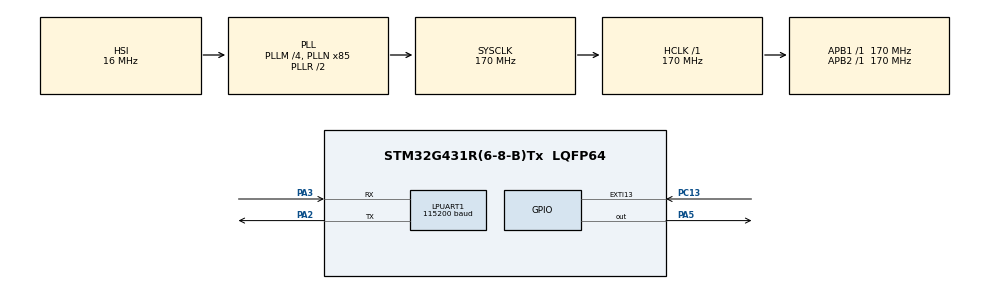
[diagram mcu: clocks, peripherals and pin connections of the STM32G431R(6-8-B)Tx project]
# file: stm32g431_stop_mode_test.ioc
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LPUART1.BaudRate=115200
LPUART1.FIFOMode=UART_FIFOMODE_ENABLE
LPUART1.RXFIFOThreshold=UART_RXFIFO_THRESHOLD_1_4
LPUART1.TXFIFOThreshold=UART_TXFIFO_THRESHOLD_1_4
Mcu.Family=STM32G4
Mcu.Name=STM32G431R(6-8-B)Tx
Mcu.Package=LQFP64
NVIC.EXTI15_10_IRQn=true\:0\:0\:false\:false\:true\:true\:true\:true
NVIC.LPUART1_IRQn=true\:0\:0\:false\:false\:true\:true\:true\:true
NVIC.PriorityGroup=NVIC_PRIORITYGROUP_4
NVIC.RTC_Alarm_IRQn=true\:0\:0\:false\:false\:true\:true\:true\:true
PA13.Mode=Serial_Wire
PA13.Signal=SYS_JTMS-SWDIO
PA14.Mode=Serial_Wire
PA14.Signal=SYS_JTCK-SWCLK
PA2.Mode=Asynchronous
PA2.Signal=LPUART1_TX
PA3.Mode=Asynchronous
PA3.Signal=LPUART1_RX
PA5.Signal=GPIO_Output
PC13.Signal=GPXTI13
ProjectManager.HeapSize=0x200
ProjectManager.StackSize=0x400
ProjectManager.TargetToolchain=STM32CubeIDE
RCC.ADC12Freq_Value=170000000
RCC.AHBFreq_Value=170000000
RCC.APB1Freq_Value=170000000
RCC.APB1TimFreq_Value=170000000
RCC.APB2Freq_Value=170000000
RCC.APB2TimFreq_Value=170000000
RCC.CortexFreq_Value=170000000
RCC.EXTERNAL_CLOCK_VALUE=12288000
RCC.HCLKFreq_Value=170000000
RCC.HSE_VALUE=8000000
RCC.HSI48_VALUE=48000000
RCC.HSI_VALUE=16000000
RCC.LPUART1CLockSelection=RCC_LPUART1CLKSOURCE_HSI
RCC.LSE_VALUE=32768
RCC.PLLM=RCC_PLLM_DIV4
RCC.PLLN=85
RCC.SYSCLKFreq_VALUE=170000000
RCC.SYSCLKSource=RCC_SYSCLKSOURCE_PLLCLK
RCC.USBFreq_Value=170000000
RCC.VCOOutputFreq_Value=340000000
RTC.Alarm-Alarm\ A=RTC_ALARM_A
RTC.AlarmDateWeekDay-Alarm\ A=0x17
RTC.AlarmDateWeekDaySel-Alarm\ A=RTC_ALARMDATEWEEKDAYSEL_DATE
RTC.Date=17
RTC.Hours=18
RTC.Hours_A-Alarm\ A=18
RTC.Minutes=15
RTC.Minutes_A-Alarm\ A=15
RTC.Month=RTC_MONTH_SEPTEMBER
RTC.Seconds_A-Alarm\ A=9
RTC.WeekDay=RTC_WEEKDAY_TUESDAY
RTC.Year=24
VP_RTC_VS_RTC_Activate.Mode=RTC_Enabled
VP_RTC_VS_RTC_Alarm_A_Intern.Mode=Alarm A
VP_RTC_VS_RTC_Calendar.Mode=RTC_Calendar
VP_SYS_VS_DBSignals.Mode=DisableDeadBatterySignals
board=custom

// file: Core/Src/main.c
/* USER CODE BEGIN Header */
/**
  ******************************************************************************
  * @file           : main.c
  * @brief          : Main program body
  ******************************************************************************
  * @attention
  *
  * Copyright (c) 2024 STMicroelectronics.
  * All rights reserved.
  *
  * This software is licensed under terms that can be found in the LICENSE file
  * in the root directory of this software component.
  * If no LICENSE file comes with this software, it is provided AS-IS.
  *
  ******************************************************************************
  */
/* USER CODE END Header */
#include "main.h"

/* USER CODE BEGIN Includes */
#include <stdio.h>
/* USER CODE END Includes */

UART_HandleTypeDef hlpuart1;

RTC_HandleTypeDef hrtc;

void SystemClock_Config(void);
static void MX_GPIO_Init(void);
static void MX_LPUART1_UART_Init(void);
static void MX_RTC_Init(void);
/* USER CODE BEGIN PFP */
uint8_t rx_data[2];
UART_WakeUpTypeDef WakeUpSelection;
/* USER CODE END PFP */

/* USER CODE BEGIN 0 */
int _write(int file, char *ptr, int len)
{
  HAL_UART_Transmit(&hlpuart1, (uint8_t *)ptr, len, HAL_MAX_DELAY);
  return len;
}

void HAL_UART_RxCpltCallback(UART_HandleTypeDef *huart)
{

}

void HAL_GPIO_EXTI_Callback(uint16_t GPIO_Pin)
{

}

void HAL_RTC_AlarmAEventCallback(RTC_HandleTypeDef *hrtc)
{

}
/* USER CODE END 0 */

int main(void)
{

  /* MCU Configuration--------------------------------------------------------*/

  /* Reset of all peripherals, Initializes the Flash interface and the Systick. */
  HAL_Init();

  /* Configure the system clock */
  SystemClock_Config();

  /* Initialize all configured peripherals */
  MX_GPIO_Init();
  MX_LPUART1_UART_Init();
  MX_RTC_Init();
  /* USER CODE BEGIN 2 */
  printf("Hello world!!\r\n");
  /* USER CODE END 2 */

  /* Infinite loop */
  /* USER CODE BEGIN WHILE */
  int i=0;
  while (1)
  {
    if(i++ > 5)
    {
      printf("Stopping ... \r\n");
      HAL_Delay(10);

      //HAL_GPIO_DeInit(GPIOA, GPIO_PIN_13|GPIO_PIN_14);
      HAL_SuspendTick();
      HAL_UARTEx_EnableStopMode(&hlpuart1);

      HAL_UART_Receive_IT(&hlpuart1, (uint8_t*)rx_data, 2);

      //Using HSI for uart to wake up from the stop mode
      HAL_PWR_EnterSTOPMode(PWR_LOWPOWERREGULATOR_ON, PWR_STOPENTRY_WFI);

      SystemClock_Config();

      HAL_UARTEx_DisableStopMode(&hlpuart1);

      HAL_ResumeTick();
      i = 0;
    }
    else
    {
      RTC_TimeTypeDef sTime = {0};
      RTC_DateTypeDef sDate = {0};

      HAL_RTC_GetTime(&hrtc, &sTime, RTC_FORMAT_BIN);
      HAL_RTC_GetDate(&hrtc, &sDate, RTC_FORMAT_BIN);

      printf("Running ... %d \r\n", sTime.Seconds);
      HAL_GPIO_TogglePin(GPIOA, GPIO_PIN_5);
      HAL_Delay(1000);
    }
    /* USER CODE END WHILE */

  }
}

void SystemClock_Config(void)
{
  RCC_OscInitTypeDef RCC_OscInitStruct = {0};
  RCC_ClkInitTypeDef RCC_ClkInitStruct = {0};

  /** Configure the main internal regulator output voltage
  */
  HAL_PWREx_ControlVoltageScaling(PWR_REGULATOR_VOLTAGE_SCALE1_BOOST);

  /** Initializes the RCC Oscillators according to the specified parameters
  * in the RCC_OscInitTypeDef structure.
  */
  RCC_OscInitStruct.OscillatorType = RCC_OSCILLATORTYPE_HSI|RCC_OSCILLATORTYPE_LSI;
  RCC_OscInitStruct.HSIState = RCC_HSI_ON;
  RCC_OscInitStruct.HSICalibrationValue = RCC_HSICALIBRATION_DEFAULT;
  RCC_OscInitStruct.LSIState = RCC_LSI_ON;
  RCC_OscInitStruct.PLL.PLLState = RCC_PLL_ON;
  RCC_OscInitStruct.PLL.PLLSource = RCC_PLLSOURCE_HSI;
  RCC_OscInitStruct.PLL.PLLM = RCC_PLLM_DIV4;
  RCC_OscInitStruct.PLL.PLLN = 85;
  RCC_OscInitStruct.PLL.PLLP = RCC_PLLP_DIV2;
  RCC_OscInitStruct.PLL.PLLQ = RCC_PLLQ_DIV2;
  RCC_OscInitStruct.PLL.PLLR = RCC_PLLR_DIV2;
  if (HAL_RCC_OscConfig(&RCC_OscInitStruct) != HAL_OK)
  {
    Error_Handler();
  }

  /** Initializes the CPU, AHB and APB buses clocks
  */
  RCC_ClkInitStruct.ClockType = RCC_CLOCKTYPE_HCLK|RCC_CLOCKTYPE_SYSCLK
                              |RCC_CLOCKTYPE_PCLK1|RCC_CLOCKTYPE_PCLK2;
  RCC_ClkInitStruct.SYSCLKSource = RCC_SYSCLKSOURCE_PLLCLK;
  RCC_ClkInitStruct.AHBCLKDivider = RCC_SYSCLK_DIV1;
  RCC_ClkInitStruct.APB1CLKDivider = RCC_HCLK_DIV1;
  RCC_ClkInitStruct.APB2CLKDivider = RCC_HCLK_DIV1;

  if (HAL_RCC_ClockConfig(&RCC_ClkInitStruct, FLASH_LATENCY_4) != HAL_OK)
  {
    Error_Handler();
  }
}

static void MX_LPUART1_UART_Init(void)
{

  hlpuart1.Instance = LPUART1;
  hlpuart1.Init.BaudRate = 115200;
  hlpuart1.Init.WordLength = UART_WORDLENGTH_8B;
  hlpuart1.Init.StopBits = UART_STOPBITS_1;
  hlpuart1.Init.Parity = UART_PARITY_NONE;
  hlpuart1.Init.Mode = UART_MODE_TX_RX;
  hlpuart1.Init.HwFlowCtl = UART_HWCONTROL_NONE;
  hlpuart1.Init.OneBitSampling = UART_ONE_BIT_SAMPLE_DISABLE;
  hlpuart1.Init.ClockPrescaler = UART_PRESCALER_DIV1;
  hlpuart1.AdvancedInit.AdvFeatureInit = UART_ADVFEATURE_NO_INIT;
  if (HAL_UART_Init(&hlpuart1) != HAL_OK)
  {
    Error_Handler();
  }
  if (HAL_UARTEx_SetTxFifoThreshold(&hlpuart1, UART_TXFIFO_THRESHOLD_1_4) != HAL_OK)
  {
    Error_Handler();
  }
  if (HAL_UARTEx_SetRxFifoThreshold(&hlpuart1, UART_RXFIFO_THRESHOLD_1_4) != HAL_OK)
  {
    Error_Handler();
  }
  if (HAL_UARTEx_EnableFifoMode(&hlpuart1) != HAL_OK)
  {
    Error_Handler();
  }

}

static void MX_RTC_Init(void)
{

  RTC_TimeTypeDef sTime = {0};
  RTC_DateTypeDef sDate = {0};
  RTC_AlarmTypeDef sAlarm = {0};

  /** Initialize RTC Only
  */
  hrtc.Instance = RTC;
  hrtc.Init.HourFormat = RTC_HOURFORMAT_24;
  hrtc.Init.AsynchPrediv = 127;
  hrtc.Init.SynchPrediv = 255;
  hrtc.Init.OutPut = RTC_OUTPUT_DISABLE;
  hrtc.Init.OutPutRemap = RTC_OUTPUT_REMAP_NONE;
  hrtc.Init.OutPutPolarity = RTC_OUTPUT_POLARITY_HIGH;
  hrtc.Init.OutPutType = RTC_OUTPUT_TYPE_OPENDRAIN;
  hrtc.Init.OutPutPullUp = RTC_OUTPUT_PULLUP_NONE;
  if (HAL_RTC_Init(&hrtc) != HAL_OK)
  {
    Error_Handler();
  }

  /** Initialize RTC and set the Time and Date
  */
  sTime.Hours = 0x18;
  sTime.Minutes = 0x15;
  sTime.Seconds = 0x0;
  sTime.SubSeconds = 0x0;
  sTime.DayLightSaving = RTC_DAYLIGHTSAVING_NONE;
  sTime.StoreOperation = RTC_STOREOPERATION_RESET;
  if (HAL_RTC_SetTime(&hrtc, &sTime, RTC_FORMAT_BCD) != HAL_OK)
  {
    Error_Handler();
  }
  sDate.WeekDay = RTC_WEEKDAY_TUESDAY;
  sDate.Month = RTC_MONTH_SEPTEMBER;
  sDate.Date = 0x17;
  sDate.Year = 0x24;
  if (HAL_RTC_SetDate(&hrtc, &sDate, RTC_FORMAT_BCD) != HAL_OK)
  {
    Error_Handler();
  }

  /** Enable the Alarm A
  */
  sAlarm.AlarmTime.Hours = 0x18;
  sAlarm.AlarmTime.Minutes = 0x15;
  sAlarm.AlarmTime.Seconds = 0x9;
  sAlarm.AlarmTime.SubSeconds = 0x0;
  sAlarm.AlarmMask = RTC_ALARMMASK_NONE;
  sAlarm.AlarmSubSecondMask = RTC_ALARMSUBSECONDMASK_ALL;
  sAlarm.AlarmDateWeekDaySel = RTC_ALARMDATEWEEKDAYSEL_DATE;
  sAlarm.AlarmDateWeekDay = 0x17;
  sAlarm.Alarm = RTC_ALARM_A;
  if (HAL_RTC_SetAlarm_IT(&hrtc, &sAlarm, RTC_FORMAT_BCD) != HAL_OK)
  {
    Error_Handler();
  }

}

static void MX_GPIO_Init(void)
{
  GPIO_InitTypeDef GPIO_InitStruct = {0};

  /* GPIO Ports Clock Enable */
  __HAL_RCC_GPIOC_CLK_ENABLE();
  __HAL_RCC_GPIOA_CLK_ENABLE();

  /*Configure GPIO pin Output Level */
  HAL_GPIO_WritePin(GPIOA, GPIO_PIN_5, GPIO_PIN_RESET);

  /*Configure GPIO pin : PC13 */
  GPIO_InitStruct.Pin = GPIO_PIN_13;
  GPIO_InitStruct.Mode = GPIO_MODE_IT_RISING;
  GPIO_InitStruct.Pull = GPIO_NOPULL;
  HAL_GPIO_Init(GPIOC, &GPIO_InitStruct);

  /*Configure GPIO pin : PA5 */
  GPIO_InitStruct.Pin = GPIO_PIN_5;
  GPIO_InitStruct.Mode = GPIO_MODE_OUTPUT_PP;
  GPIO_InitStruct.Pull = GPIO_NOPULL;
  GPIO_InitStruct.Speed = GPIO_SPEED_FREQ_LOW;
  HAL_GPIO_Init(GPIOA, &GPIO_InitStruct);

  /* EXTI interrupt init*/
  HAL_NVIC_SetPriority(EXTI15_10_IRQn, 0, 0);
  HAL_NVIC_EnableIRQ(EXTI15_10_IRQn);

}

void Error_Handler(void)
{
  __disable_irq();
  while (1)
  {
  }
}
